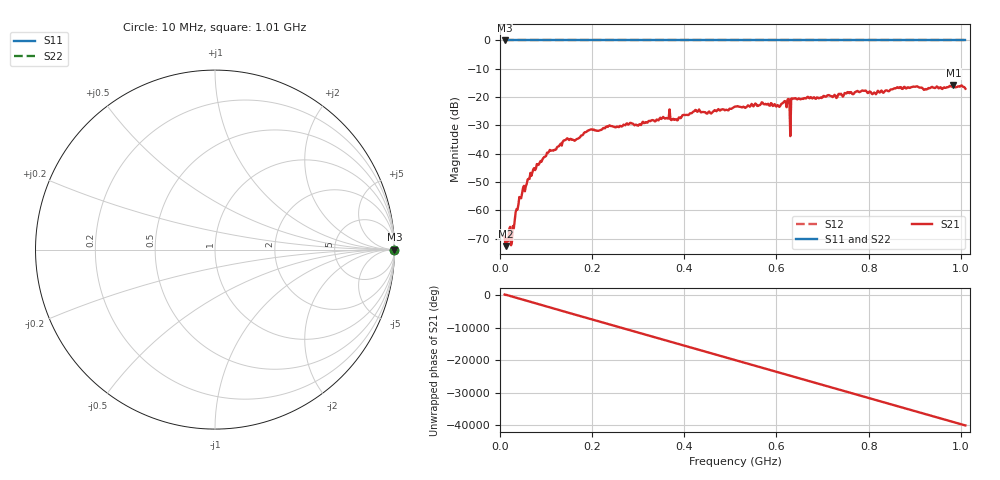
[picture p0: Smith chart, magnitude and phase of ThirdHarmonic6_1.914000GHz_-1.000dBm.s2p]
! 8/16/2025 11:05:22 PM
! C:\ANRITSUVNA\TEMP\TEMP.S2P
! CHANNEL.1
! TR.MEASUREMENT
! RAW.DATA
! RF.CORRECTION.OFF
! AVERAGING.OFF
! IF.BANDWIDTH: 5KHZ
! SWEEPTYPE:  FREQ.SWEEP(Linear)
! Reference Plane Port Info
! PORT:  PORT1  PORT2
! DISTANCE:  0  m  0  m
! TIME:  0  s  0  s
! PHASE.OFFSET:  0  deg.  0  deg.
! LOSS:  0  dB  0  dB
! REF.LOSS:  0  dB  0  dB
! REF.FREQ:  0  Hz  0  Hz
! Power Info
! POWER:  -20  dBm  -20  dBm
! EFF.POWER:  -20  dBm  -20  dBm
! SOURCE.ATTEN:  0  dB  0  dB
! TEST.ATTEN:  0  dB  0  dB
# GHZ S RI R 50.0
! FREQ.GHZ  S11RE  S11IM  S21RE  S21IM  S12RE  S12IM  S22RE  S22IM
!; PortSelection: Port_12
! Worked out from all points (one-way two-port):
!   501 points, 10 MHz to 1.01 GHz, reference 50 ohm
!   highest |S21| = -15.81 dB at 984 MHz (marker M1); lowest = -72.7 dB at 12 MHz (marker M2)
!   lowest |S11| = 0.0 dB at 10 MHz (marker M3)
!   |S11| at or under -10 dB: nowhere
!   |S22| runs from 0.0 to 0.0 dB; largest |S21 - S12| = 1.2
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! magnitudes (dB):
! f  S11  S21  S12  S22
! 10 MHz  0.0  -69.3  0.0  0.0
! 12 MHz  0.0  -72.7  0.0  0.0
! 28 MHz  0.0  -65.6  0.0  0.0
! 38 MHz  0.0  -59.8  0.0  0.0
! 46 MHz  0.0  -55.8  0.0  0.0
! 76 MHz  0.0  -45.8  0.0  0.0
! 106 MHz  0.0  -39.4  0.0  0.0
! 142 MHz  0.0  -35.2  0.0  0.0
! 178 MHz  0.0  -33.5  0.0  0.0
! 196 MHz  0.0  -31.5  0.0  0.0
! 344 MHz  0.0  -28.3  0.0  0.0
! 382 MHz  0.0  -27.8  0.0  0.0
! 510 MHz  0.0  -23.3  0.0  0.0
! 604 MHz  0.0  -23.0  0.0  0.0
! 624 MHz  0.0  -20.9  0.0  0.0
! 626 MHz  0.0  -20.6  0.0  0.0
! 634 MHz  0.0  -20.5  0.0  0.0
! 636 MHz  0.0  -20.6  0.0  0.0
! 678 MHz  0.0  -20.5  0.0  0.0
! 844 MHz  0.0  -18.0  0.0  0.0
! 984 MHz  0.0  -15.8  0.0  0.0
! 1.01 GHz  0.0  -17.0  0.0  0.0
